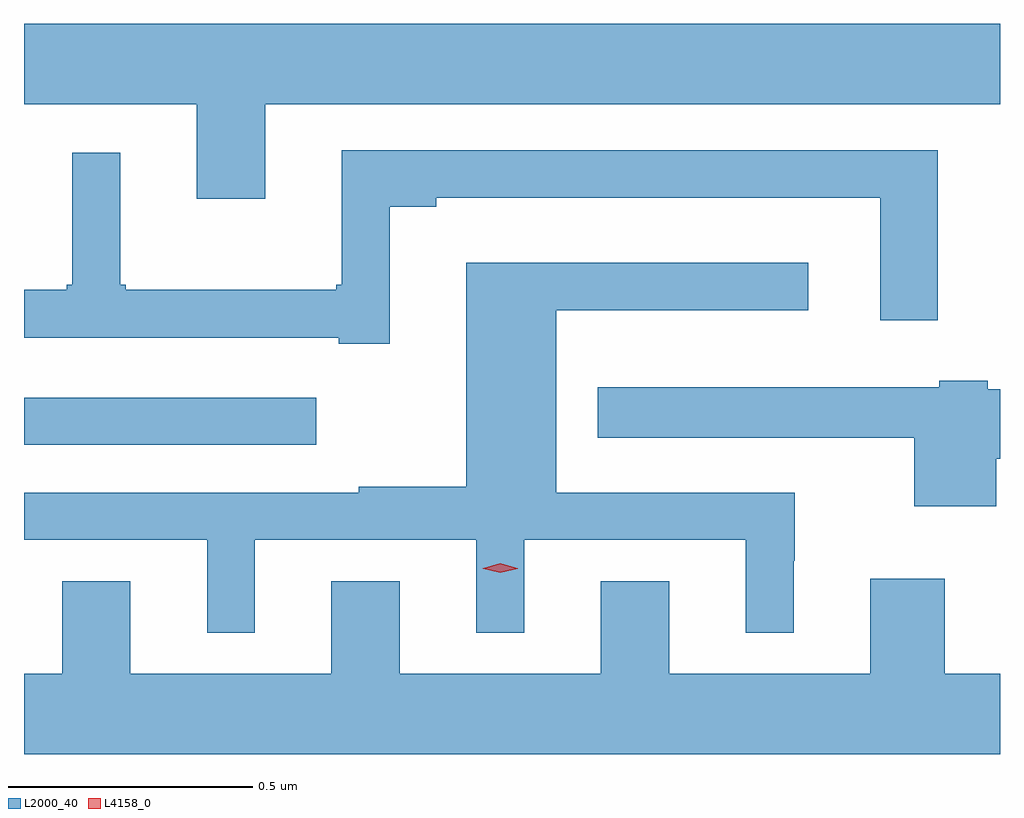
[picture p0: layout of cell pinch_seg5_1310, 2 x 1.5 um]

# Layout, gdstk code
import gdstk
lib = gdstk.Library(unit=1e-6, precision=1e-09)
def R(c, l, rs):  # rectangles x0, y0, x1, y1
    for r in rs: c.add(gdstk.rectangle(r[:2], r[2:], *l))
def P(c, l, *ps):  # polygons
    for p in ps: c.add(gdstk.Polygon(p, *l))
L2000_40 = (2000, 40)
L4158_0 = (4158, 0)

pinch_seg5_1310 = lib.new_cell('pinch_seg5_1310')
R(pinch_seg5_1310, L2000_40, [(468.983,838.746,469.582,838.842)])
P(pinch_seg5_1310, L2000_40, [(469.477,839.444),(470.983,839.444),(470.983,839.608),(468.983,839.608),(468.983,839.444),(469.337,839.444),(469.337,839.25),(469.477,839.25)],
  [(469.732,839.233),(469.828,839.233),(469.828,839.252),(470.738,839.252),(470.738,839.001),(470.855,839.001),(470.855,839.349),(469.634,839.349),(469.634,839.074),(469.623,839.074),(469.623,839.063),(469.192,839.063),(469.192,839.074),(469.18,839.074),(469.18,839.344),(469.082,839.344),(469.082,839.074),(469.071,839.074),(469.071,839.063),(468.983,839.063),(468.983,838.965),(469.628,838.965),(469.628,838.953),(469.732,838.953)],
  [(469.456,838.551),(469.91,838.551),(469.91,838.361),(470.008,838.361),(470.008,838.551),(470.462,838.551),(470.462,838.361),(470.56,838.361),(470.56,838.508),(470.562,838.508),(470.562,838.647),(470.074,838.647),(470.074,839.021),(470.59,839.021),(470.59,839.119),(469.889,839.119),(469.889,838.66),(469.669,838.66),(469.669,838.647),(468.983,838.647),(468.983,838.551),(469.358,838.551),(469.358,838.361),(469.456,838.361)],
  [(470.975,838.717),(470.983,838.717),(470.983,838.859),(470.958,838.859),(470.958,838.877),(470.858,838.877),(470.858,838.864),(470.159,838.864),(470.159,838.76),(470.807,838.76),(470.807,838.62),(470.975,838.62)],
  [(470.983,838.276),(470.87,838.276),(470.87,838.471),(470.717,838.471),(470.717,838.276),(470.305,838.276),(470.305,838.466),(470.165,838.466),(470.165,838.276),(469.753,838.276),(469.753,838.466),(469.613,838.466),(469.613,838.276),(469.201,838.276),(469.201,838.466),(469.061,838.466),(469.061,838.276),(468.983,838.276),(468.983,838.112),(470.983,838.112)])
P(pinch_seg5_1310, L4158_0, [(469.959,838.483),(469.924,838.492),(469.923,838.493),(469.924,838.493),(469.959,838.503),(469.995,838.493),(469.995,838.493),(469.995,838.492)])

lib.write_gds('pinch_seg5_1310.gds')
